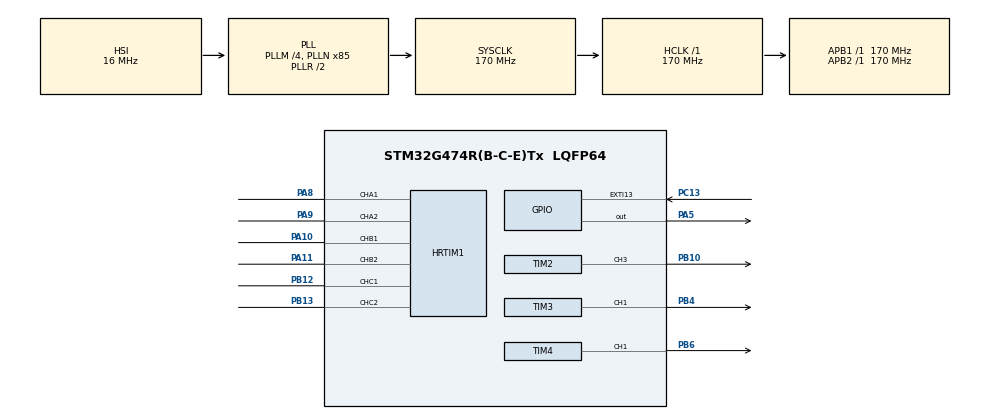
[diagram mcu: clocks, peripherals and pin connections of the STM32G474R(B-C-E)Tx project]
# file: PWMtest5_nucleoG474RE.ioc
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HRTIM1.CompareUnit1-Output_TA1TA2=HRTIM_COMPAREUNIT_1
HRTIM1.CompareUnit1-Output_TB1TB2=HRTIM_COMPAREUNIT_1
HRTIM1.CompareUnit1-Output_TC1TC2=HRTIM_COMPAREUNIT_1
HRTIM1.CompareValue1-Output_TA1TA2=17000
HRTIM1.CompareValue1-Output_TB1TB2=17000
HRTIM1.CompareValue1-Output_TC1TC2=17000
HRTIM1.DeadTimeInsertion-Output_TA1TA2=HRTIM_TIMDEADTIMEINSERTION_ENABLED
HRTIM1.DeadTimeInsertion-Output_TB1TB2=HRTIM_TIMDEADTIMEINSERTION_ENABLED
HRTIM1.DeadTimeInsertion-Output_TC1TC2=HRTIM_TIMDEADTIMEINSERTION_ENABLED
HRTIM1.Deadtimeconfig-Output_TA1TA2=HRTIM_TIMERINDEX_TIMER_A
HRTIM1.Deadtimeconfig-Output_TB1TB2=HRTIM_TIMERINDEX_TIMER_B
HRTIM1.Deadtimeconfig-Output_TC1TC2=HRTIM_TIMERINDEX_TIMER_C
HRTIM1.FallingValue-Output_TA1TA2=68
HRTIM1.FallingValue-Output_TB1TB2=68
HRTIM1.FallingValue-Output_TC1TC2=68
HRTIM1.InterruptRequests1-Output_TA1TA2=HRTIM_TIM_IT_REP
HRTIM1.ModeTimeBase-Output_TA1TA2=HRTIM_MODE_CONTINUOUS
HRTIM1.ModeTimeBase-Output_TB1TB2=HRTIM_MODE_CONTINUOUS
HRTIM1.NumberInterruptRequests-Output_TA1TA2=1
HRTIM1.NumberInterruptRequests-Output_TB1TB2=0
HRTIM1.NumberInterruptRequests-Output_TC1TC2=0
HRTIM1.NumberResetSource1-Output_TA1TA2=1
HRTIM1.NumberResetSource1-Output_TB1TB2=1
HRTIM1.NumberResetSource1-Output_TC1TC2=1
HRTIM1.NumberResetSource2_TA=0
HRTIM1.NumberSetSource1-Output_TA1TA2=1
HRTIM1.NumberSetSource1-Output_TB1TB2=1
HRTIM1.NumberSetSource1-Output_TC1TC2=1
HRTIM1.NumberSetSource2_TA=0
HRTIM1.Periode_TA=34000
HRTIM1.Periode_TB=34000
HRTIM1.Periode_TC=34000
HRTIM1.PreloadEnable-Output_TA1TA2=HRTIM_PRELOAD_ENABLED
HRTIM1.PreloadEnable-Output_TB1TB2=HRTIM_PRELOAD_ENABLED
HRTIM1.PreloadEnable-Output_TC1TC2=HRTIM_PRELOAD_ENABLED
HRTIM1.PrescalerRatio_TA=HRTIM_PRESCALERRATIO_MUL8
HRTIM1.PrescalerRatio_TB=HRTIM_PRESCALERRATIO_MUL8
HRTIM1.PrescalerRatio_TC=HRTIM_PRESCALERRATIO_MUL8
HRTIM1.RepetitionUpdate-Output_TA1TA2=HRTIM_UPDATEONREPETITION_ENABLED
HRTIM1.RepetitionUpdate-Output_TB1TB2=HRTIM_UPDATEONREPETITION_ENABLED
HRTIM1.RepetitionUpdate-Output_TC1TC2=HRTIM_UPDATEONREPETITION_ENABLED
HRTIM1.ResetOutput1_Source1-Output_TA1TA2=HRTIM_OUTPUTRESET_TIMCMP1
HRTIM1.ResetOutput1_Source1-Output_TB1TB2=HRTIM_OUTPUTRESET_TIMCMP1
HRTIM1.ResetOutput1_Source1-Output_TC1TC2=HRTIM_OUTPUTRESET_TIMCMP1
HRTIM1.RisingValue-Output_TA1TA2=68
HRTIM1.RisingValue-Output_TB1TB2=68
HRTIM1.RisingValue-Output_TC1TC2=68
HRTIM1.SetOutput1_Source1-Output_TA1TA2=HRTIM_OUTPUTSET_TIMCMP1
HRTIM1.SetOutput1_Source1-Output_TB1TB2=HRTIM_OUTPUTSET_TIMCMP1
HRTIM1.SetOutput1_Source1-Output_TC1TC2=HRTIM_OUTPUTSET_TIMCMP1
HRTIM1.UpDownMode-Output_TA1TA2=HRTIM_TIMERUPDOWNMODE_UPDOWN
HRTIM1.UpDownMode-Output_TB1TB2=HRTIM_TIMERUPDOWNMODE_UPDOWN
HRTIM1.UpDownMode-Output_TC1TC2=HRTIM_TIMERUPDOWNMODE_UPDOWN
Mcu.Family=STM32G4
Mcu.Name=STM32G474R(B-C-E)Tx
Mcu.Package=LQFP64
NUCLEO-G474RE.BUTTON=1
NUCLEO-G474RE.LD2=true
NUCLEO-G474RE.VCP=true
NVIC.EXTI15_10_IRQn=true\:0\:0\:false\:false\:true\:true\:true\:true
NVIC.HRTIM1_TIMA_IRQn=true\:0\:0\:false\:false\:true\:true\:true\:true
NVIC.PriorityGroup=NVIC_PRIORITYGROUP_4
PA10.Mode=Output_TB1TB2
PA10.Signal=HRTIM1_CHB1
PA11.Mode=Output_TB1TB2
PA11.Signal=HRTIM1_CHB2
PA13.GPIO_Label=T_SWDIO
PA13.Signal=SYS_JTMS-SWDIO
PA14.GPIO_Label=T_SWCLK
PA14.Signal=SYS_JTCK-SWCLK
PA2.Signal=LPUART1_TX
PA3.Signal=LPUART1_RX
PA5.Signal=GPIO_Output
PA8.Mode=Output_TA1TA2
PA8.Signal=HRTIM1_CHA1
PA9.Mode=Output_TA1TA2
PA9.Signal=HRTIM1_CHA2
PB10.Signal=S_TIM2_CH3
PB12.Mode=Output_TC1TC2
PB12.Signal=HRTIM1_CHC1
PB13.Mode=Output_TC1TC2
PB13.Signal=HRTIM1_CHC2
PB3.GPIO_Label=T_SWO
PB3.Signal=SYS_JTDO-SWO
PB4.Signal=S_TIM3_CH1
PB6.Signal=S_TIM4_CH1
PC13.Signal=GPXTI13
PC14-OSC32_IN.GPIO_Label=RCC_OSC32_IN
PC14-OSC32_IN.Signal=RCC_OSC32_IN
PC15-OSC32_OUT.GPIO_Label=RCC_OSC32_OUT
PC15-OSC32_OUT.Signal=RCC_OSC32_OUT
PF0-OSC_IN.GPIO_Label=RCC_OSC_IN
PF0-OSC_IN.Signal=RCC_OSC_IN
PF1-OSC_OUT.GPIO_Label=RCC_OSC_OUT
PF1-OSC_OUT.Signal=RCC_OSC_OUT
ProjectManager.HeapSize=0x200
ProjectManager.StackSize=0x400
ProjectManager.TargetToolchain=STM32CubeIDE
RCC.ADC12Freq_Value=170000000
RCC.ADC345Freq_Value=170000000
RCC.AHBFreq_Value=170000000
RCC.APB1Freq_Value=170000000
RCC.APB1TimFreq_Value=170000000
RCC.APB2Freq_Value=170000000
RCC.APB2TimFreq_Value=170000000
RCC.CortexFreq_Value=170000000
RCC.EXTERNAL_CLOCK_VALUE=12288000
RCC.HCLKFreq_Value=170000000
RCC.HSE_VALUE=24000000
RCC.HSI48_VALUE=48000000
RCC.HSI_VALUE=16000000
RCC.LSE_VALUE=32768
RCC.PLLM=RCC_PLLM_DIV4
RCC.PLLN=85
RCC.RTCClockSelection=RCC_RTCCLKSOURCE_LSE
RCC.SYSCLKFreq_VALUE=170000000
RCC.SYSCLKSource=RCC_SYSCLKSOURCE_PLLCLK
RCC.USBFreq_Value=170000000
RCC.VCOOutputFreq_Value=340000000
SH.S_TIM2_CH3.0=TIM2_CH3,PWM Generation3 CH3
SH.S_TIM3_CH1.0=TIM3_CH1,PWM Generation1 CH1
SH.S_TIM4_CH1.0=TIM4_CH1,PWM Generation1 CH1
TIM2.AutoReloadPreload=TIM_AUTORELOAD_PRELOAD_ENABLE
TIM2.Channel-PWM\ Generation3\ CH3=TIM_CHANNEL_3
TIM2.PeriodNoDither=1699
TIM2.TIM_MasterOutputTrigger=TIM_TRGO_ENABLE
TIM2.TIM_MasterSlaveMode=TIM_MASTERSLAVEMODE_ENABLE
TIM3.AutoReloadPreload=TIM_AUTORELOAD_PRELOAD_ENABLE
TIM3.Channel-PWM\ Generation1\ CH1=TIM_CHANNEL_1
TIM3.PeriodNoDither=1699
TIM4.AutoReloadPreload=TIM_AUTORELOAD_PRELOAD_ENABLE
TIM4.Channel-PWM\ Generation1\ CH1=TIM_CHANNEL_1
TIM4.PeriodNoDither=1699
VP_NUCLEO-G474RE_VS_BSP_COMMON.Mode=COMMON
VP_SYS_VS_DBSignals.Mode=DisableDeadBatterySignals
VP_TIM3_VS_ClockSourceITR.Mode=TriggerSource_ITR1
VP_TIM3_VS_ControllerModeTrigger.Mode=Trigger Mode
VP_TIM4_VS_ClockSourceITR.Mode=TriggerSource_ITR1
VP_TIM4_VS_ControllerModeTrigger.Mode=Trigger Mode
board=NUCLEO-G474RE

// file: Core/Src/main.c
/* USER CODE BEGIN Header */
/**
  ******************************************************************************
  * @file           : main.c
  * @brief          : Main program body
  ******************************************************************************
  * @attention
  *
  * Copyright (c) 2025 STMicroelectronics.
  * All rights reserved.
  *
  * This software is licensed under terms that can be found in the LICENSE file
  * in the root directory of this software component.
  * If no LICENSE file comes with this software, it is provided AS-IS.
  *
  ******************************************************************************
  */
/* USER CODE END Header */
#include "main.h"

/* USER CODE BEGIN Includes */
#include <math.h>
/* USER CODE END Includes */

/* USER CODE BEGIN PD */
#define F_SW 20000.0f//fsw:switching frequency
#define HRTIM_CLOCK (170000000.0f*8.0f)//HRTIMClock
#define LUT_SIZE 1024
#define PI 3.1415926535f
#define HRTIM_PERIOD_COUNTS  ((uint16_t)(HRTIM_CLOCK / (2.0f * F_SW)))//Attention!:Up-Dwonmode now
/* USER CODE END PD */

COM_InitTypeDef BspCOMInit;
HRTIM_HandleTypeDef hhrtim1;

TIM_HandleTypeDef htim2;
TIM_HandleTypeDef htim3;
TIM_HandleTypeDef htim4;

/* USER CODE BEGIN PV */
//circuit parameters
float sin_lut[LUT_SIZE];
float fm = 50.0f;       //Main Frequency
float mod_index = 0.85f; //Modulation

//phase calculate
float phase_acc = 0.0f; // 現在の位相アキュムレータ
float phase_step = 0.0f; // 1割り込みごとの位相進み量

/* USER CODE END PV */

void SystemClock_Config(void);
static void MX_GPIO_Init(void);
static void MX_TIM2_Init(void);
static void MX_TIM3_Init(void);
static void MX_TIM4_Init(void);
static void MX_HRTIM1_Init(void);

/* USER CODE BEGIN 0 */
/***
 * @brief Initialize LUT
 */
void Init_Sine_LUT(void)
{
	//generate LUT
    for (int i = 0; i < LUT_SIZE; i++)
    {
        float theta = (2.0f * PI * (float)i) / (float)LUT_SIZE;
        sin_lut[i] = sinf(theta);
    }
}

/***
 * @brief Calculate Phase
 */
void Update_Phase_Step(void){
	phase_step=(fm/F_SW)*(float)LUT_SIZE;
}
/* USER CODE END 0 */

int main(void)
{

  /* MCU Configuration--------------------------------------------------------*/

  /* Reset of all peripherals, Initializes the Flash interface and the Systick. */
  HAL_Init();

  /* Configure the system clock */
  SystemClock_Config();

  /* Initialize all configured peripherals */
  MX_GPIO_Init();
  MX_TIM2_Init();
  MX_TIM3_Init();
  MX_TIM4_Init();
  MX_HRTIM1_Init();
  /* USER CODE BEGIN 2 */
  Init_Sine_LUT();
  Update_Phase_Step();

  __HAL_HRTIM_SETPERIOD(&hhrtim1, HRTIM_TIMERINDEX_TIMER_A, HRTIM_PERIOD_COUNTS);
  __HAL_HRTIM_SETPERIOD(&hhrtim1, HRTIM_TIMERINDEX_TIMER_B, HRTIM_PERIOD_COUNTS);
  __HAL_HRTIM_SETPERIOD(&hhrtim1, HRTIM_TIMERINDEX_TIMER_C, HRTIM_PERIOD_COUNTS);

  HAL_HRTIM_WaveformOutputStart(&hhrtim1, HRTIM_OUTPUT_TA1 | HRTIM_OUTPUT_TA2 |
                                            HRTIM_OUTPUT_TB1 | HRTIM_OUTPUT_TB2 |
                                            HRTIM_OUTPUT_TC1 | HRTIM_OUTPUT_TC2);
  hhrtim1.Instance->sTimerxRegs[HRTIM_TIMERINDEX_TIMER_A].TIMxDIER |= HRTIM_TIM_IT_REP;//TimerAの割り込みを強制的に許可させる(iocでなぜ設定されないか不明)
  HAL_HRTIM_WaveformCountStart(&hhrtim1, HRTIM_TIMERID_TIMER_A | HRTIM_TIMERID_TIMER_B | HRTIM_TIMERID_TIMER_C);
  /* USER CODE END 2 */

  /* Initialize led */
  BSP_LED_Init(LED_GREEN);

  /* Initialize USER push-button, will be used to trigger an interrupt each time it's pressed.*/
  BSP_PB_Init(BUTTON_USER, BUTTON_MODE_EXTI);

  /* Initialize COM1 port (115200, 8 bits (7-bit data + 1 stop bit), no parity */
  BspCOMInit.BaudRate   = 115200;
  BspCOMInit.WordLength = COM_WORDLENGTH_8B;
  BspCOMInit.StopBits   = COM_STOPBITS_1;
  BspCOMInit.Parity     = COM_PARITY_NONE;
  BspCOMInit.HwFlowCtl  = COM_HWCONTROL_NONE;
  if (BSP_COM_Init(COM1, &BspCOMInit) != BSP_ERROR_NONE)
  {
    Error_Handler();
  }

  /* Infinite loop */
  while (1)
  {

  }
}

void SystemClock_Config(void)
{
  RCC_OscInitTypeDef RCC_OscInitStruct = {0};
  RCC_ClkInitTypeDef RCC_ClkInitStruct = {0};

  /** Configure the main internal regulator output voltage
  */
  HAL_PWREx_ControlVoltageScaling(PWR_REGULATOR_VOLTAGE_SCALE1_BOOST);

  /** Initializes the RCC Oscillators according to the specified parameters
  * in the RCC_OscInitTypeDef structure.
  */
  RCC_OscInitStruct.OscillatorType = RCC_OSCILLATORTYPE_HSI;
  RCC_OscInitStruct.HSIState = RCC_HSI_ON;
  RCC_OscInitStruct.HSICalibrationValue = RCC_HSICALIBRATION_DEFAULT;
  RCC_OscInitStruct.PLL.PLLState = RCC_PLL_ON;
  RCC_OscInitStruct.PLL.PLLSource = RCC_PLLSOURCE_HSI;
  RCC_OscInitStruct.PLL.PLLM = RCC_PLLM_DIV4;
  RCC_OscInitStruct.PLL.PLLN = 85;
  RCC_OscInitStruct.PLL.PLLP = RCC_PLLP_DIV2;
  RCC_OscInitStruct.PLL.PLLQ = RCC_PLLQ_DIV2;
  RCC_OscInitStruct.PLL.PLLR = RCC_PLLR_DIV2;
  if (HAL_RCC_OscConfig(&RCC_OscInitStruct) != HAL_OK)
  {
    Error_Handler();
  }

  /** Initializes the CPU, AHB and APB buses clocks
  */
  RCC_ClkInitStruct.ClockType = RCC_CLOCKTYPE_HCLK|RCC_CLOCKTYPE_SYSCLK
                              |RCC_CLOCKTYPE_PCLK1|RCC_CLOCKTYPE_PCLK2;
  RCC_ClkInitStruct.SYSCLKSource = RCC_SYSCLKSOURCE_PLLCLK;
  RCC_ClkInitStruct.AHBCLKDivider = RCC_SYSCLK_DIV1;
  RCC_ClkInitStruct.APB1CLKDivider = RCC_HCLK_DIV1;
  RCC_ClkInitStruct.APB2CLKDivider = RCC_HCLK_DIV1;

  if (HAL_RCC_ClockConfig(&RCC_ClkInitStruct, FLASH_LATENCY_4) != HAL_OK)
  {
    Error_Handler();
  }
}

static void MX_HRTIM1_Init(void)
{

  HRTIM_TimeBaseCfgTypeDef pTimeBaseCfg = {0};
  HRTIM_TimerCtlTypeDef pTimerCtl = {0};
  HRTIM_TimerCfgTypeDef pTimerCfg = {0};
  HRTIM_CompareCfgTypeDef pCompareCfg = {0};
  HRTIM_DeadTimeCfgTypeDef pDeadTimeCfg = {0};
  HRTIM_OutputCfgTypeDef pOutputCfg = {0};

  hhrtim1.Instance = HRTIM1;
  hhrtim1.Init.HRTIMInterruptResquests = HRTIM_IT_NONE;
  hhrtim1.Init.SyncOptions = HRTIM_SYNCOPTION_NONE;
  if (HAL_HRTIM_Init(&hhrtim1) != HAL_OK)
  {
    Error_Handler();
  }
  if (HAL_HRTIM_DLLCalibrationStart(&hhrtim1, HRTIM_CALIBRATIONRATE_3) != HAL_OK)
  {
    Error_Handler();
  }
  if (HAL_HRTIM_PollForDLLCalibration(&hhrtim1, 10) != HAL_OK)
  {
    Error_Handler();
  }
  pTimeBaseCfg.Period = 34000;
  pTimeBaseCfg.RepetitionCounter = 0x00;
  pTimeBaseCfg.PrescalerRatio = HRTIM_PRESCALERRATIO_MUL8;
  pTimeBaseCfg.Mode = HRTIM_MODE_CONTINUOUS;
  if (HAL_HRTIM_TimeBaseConfig(&hhrtim1, HRTIM_TIMERINDEX_TIMER_A, &pTimeBaseCfg) != HAL_OK)
  {
    Error_Handler();
  }
  pTimerCtl.UpDownMode = HRTIM_TIMERUPDOWNMODE_UPDOWN;
  pTimerCtl.GreaterCMP1 = HRTIM_TIMERGTCMP1_EQUAL;
  pTimerCtl.DualChannelDacEnable = HRTIM_TIMER_DCDE_DISABLED;
  if (HAL_HRTIM_WaveformTimerControl(&hhrtim1, HRTIM_TIMERINDEX_TIMER_A, &pTimerCtl) != HAL_OK)
  {
    Error_Handler();
  }
  if (HAL_HRTIM_RollOverModeConfig(&hhrtim1, HRTIM_TIMERINDEX_TIMER_A, HRTIM_TIM_FEROM_BOTH|HRTIM_TIM_BMROM_BOTH
                              |HRTIM_TIM_ADROM_BOTH|HRTIM_TIM_OUTROM_BOTH
                              |HRTIM_TIM_ROM_BOTH) != HAL_OK)
  {
    Error_Handler();
  }
  pTimerCfg.InterruptRequests = HRTIM_TIM_IT_REP;
  pTimerCfg.DMARequests = HRTIM_TIM_DMA_NONE;
  pTimerCfg.DMASrcAddress = 0x0000;
  pTimerCfg.DMADstAddress = 0x0000;
  pTimerCfg.DMASize = 0x1;
  pTimerCfg.HalfModeEnable = HRTIM_HALFMODE_DISABLED;
  pTimerCfg.InterleavedMode = HRTIM_INTERLEAVED_MODE_DISABLED;
  pTimerCfg.StartOnSync = HRTIM_SYNCSTART_DISABLED;
  pTimerCfg.ResetOnSync = HRTIM_SYNCRESET_DISABLED;
  pTimerCfg.DACSynchro = HRTIM_DACSYNC_NONE;
  pTimerCfg.PreloadEnable = HRTIM_PRELOAD_ENABLED;
  pTimerCfg.UpdateGating = HRTIM_UPDATEGATING_INDEPENDENT;
  pTimerCfg.BurstMode = HRTIM_TIMERBURSTMODE_MAINTAINCLOCK;
  pTimerCfg.RepetitionUpdate = HRTIM_UPDATEONREPETITION_ENABLED;
  pTimerCfg.PushPull = HRTIM_TIMPUSHPULLMODE_DISABLED;
  pTimerCfg.FaultEnable = HRTIM_TIMFAULTENABLE_NONE;
  pTimerCfg.FaultLock = HRTIM_TIMFAULTLOCK_READWRITE;
  pTimerCfg.DeadTimeInsertion = HRTIM_TIMDEADTIMEINSERTION_ENABLED;
  pTimerCfg.DelayedProtectionMode = HRTIM_TIMER_A_B_C_DELAYEDPROTECTION_DISABLED;
  pTimerCfg.UpdateTrigger = HRTIM_TIMUPDATETRIGGER_NONE;
  pTimerCfg.ResetTrigger = HRTIM_TIMRESETTRIGGER_NONE;
  pTimerCfg.ResetUpdate = HRTIM_TIMUPDATEONRESET_DISABLED;
  pTimerCfg.ReSyncUpdate = HRTIM_TIMERESYNC_UPDATE_UNCONDITIONAL;
  if (HAL_HRTIM_WaveformTimerConfig(&hhrtim1, HRTIM_TIMERINDEX_TIMER_A, &pTimerCfg) != HAL_OK)
  {
    Error_Handler();
  }
  pTimerCfg.InterruptRequests = HRTIM_TIM_IT_NONE;
  if (HAL_HRTIM_WaveformTimerConfig(&hhrtim1, HRTIM_TIMERINDEX_TIMER_B, &pTimerCfg) != HAL_OK)
  {
    Error_Handler();
  }
  if (HAL_HRTIM_WaveformTimerConfig(&hhrtim1, HRTIM_TIMERINDEX_TIMER_C, &pTimerCfg) != HAL_OK)
  {
    Error_Handler();
  }
  pCompareCfg.CompareValue = 17000;
  if (HAL_HRTIM_WaveformCompareConfig(&hhrtim1, HRTIM_TIMERINDEX_TIMER_A, HRTIM_COMPAREUNIT_1, &pCompareCfg) != HAL_OK)
  {
    Error_Handler();
  }
  pDeadTimeCfg.Prescaler = HRTIM_TIMDEADTIME_PRESCALERRATIO_MUL8;
  pDeadTimeCfg.RisingValue = 68;
  pDeadTimeCfg.RisingSign = HRTIM_TIMDEADTIME_RISINGSIGN_POSITIVE;
  pDeadTimeCfg.RisingLock = HRTIM_TIMDEADTIME_RISINGLOCK_WRITE;
  pDeadTimeCfg.RisingSignLock = HRTIM_TIMDEADTIME_RISINGSIGNLOCK_WRITE;
  pDeadTimeCfg.FallingValue = 68;
  pDeadTimeCfg.FallingSign = HRTIM_TIMDEADTIME_FALLINGSIGN_POSITIVE;
  pDeadTimeCfg.FallingLock = HRTIM_TIMDEADTIME_FALLINGLOCK_WRITE;
  pDeadTimeCfg.FallingSignLock = HRTIM_TIMDEADTIME_FALLINGSIGNLOCK_WRITE;
  if (HAL_HRTIM_DeadTimeConfig(&hhrtim1, HRTIM_TIMERINDEX_TIMER_A, &pDeadTimeCfg) != HAL_OK)
  {
    Error_Handler();
  }
  if (HAL_HRTIM_DeadTimeConfig(&hhrtim1, HRTIM_TIMERINDEX_TIMER_B, &pDeadTimeCfg) != HAL_OK)
  {
    Error_Handler();
  }
  if (HAL_HRTIM_DeadTimeConfig(&hhrtim1, HRTIM_TIMERINDEX_TIMER_C, &pDeadTimeCfg) != HAL_OK)
  {
    Error_Handler();
  }
  pOutputCfg.Polarity = HRTIM_OUTPUTPOLARITY_HIGH;
  pOutputCfg.SetSource = HRTIM_OUTPUTSET_TIMCMP1;
  pOutputCfg.ResetSource = HRTIM_OUTPUTRESET_TIMCMP1;
  pOutputCfg.IdleMode = HRTIM_OUTPUTIDLEMODE_NONE;
  pOutputCfg.IdleLevel = HRTIM_OUTPUTIDLELEVEL_INACTIVE;
  pOutputCfg.FaultLevel = HRTIM_OUTPUTFAULTLEVEL_NONE;
  pOutputCfg.ChopperModeEnable = HRTIM_OUTPUTCHOPPERMODE_DISABLED;
  pOutputCfg.BurstModeEntryDelayed = HRTIM_OUTPUTBURSTMODEENTRY_REGULAR;
  if (HAL_HRTIM_WaveformOutputConfig(&hhrtim1, HRTIM_TIMERINDEX_TIMER_A, HRTIM_OUTPUT_TA1, &pOutputCfg) != HAL_OK)
  {
    Error_Handler();
  }
  if (HAL_HRTIM_WaveformOutputConfig(&hhrtim1, HRTIM_TIMERINDEX_TIMER_B, HRTIM_OUTPUT_TB1, &pOutputCfg) != HAL_OK)
  {
    Error_Handler();
  }
  if (HAL_HRTIM_WaveformOutputConfig(&hhrtim1, HRTIM_TIMERINDEX_TIMER_C, HRTIM_OUTPUT_TC1, &pOutputCfg) != HAL_OK)
  {
    Error_Handler();
  }
  pOutputCfg.SetSource = HRTIM_OUTPUTSET_NONE;
  pOutputCfg.ResetSource = HRTIM_OUTPUTRESET_NONE;
  if (HAL_HRTIM_WaveformOutputConfig(&hhrtim1, HRTIM_TIMERINDEX_TIMER_A, HRTIM_OUTPUT_TA2, &pOutputCfg) != HAL_OK)
  {
    Error_Handler();
  }
  if (HAL_HRTIM_WaveformOutputConfig(&hhrtim1, HRTIM_TIMERINDEX_TIMER_B, HRTIM_OUTPUT_TB2, &pOutputCfg) != HAL_OK)
  {
    Error_Handler();
  }
  if (HAL_HRTIM_WaveformOutputConfig(&hhrtim1, HRTIM_TIMERINDEX_TIMER_C, HRTIM_OUTPUT_TC2, &pOutputCfg) != HAL_OK)
  {
    Error_Handler();
  }
  if (HAL_HRTIM_TimeBaseConfig(&hhrtim1, HRTIM_TIMERINDEX_TIMER_B, &pTimeBaseCfg) != HAL_OK)
  {
    Error_Handler();
  }
  if (HAL_HRTIM_WaveformTimerControl(&hhrtim1, HRTIM_TIMERINDEX_TIMER_B, &pTimerCtl) != HAL_OK)
  {
    Error_Handler();
  }
  if (HAL_HRTIM_RollOverModeConfig(&hhrtim1, HRTIM_TIMERINDEX_TIMER_B, HRTIM_TIM_FEROM_BOTH|HRTIM_TIM_BMROM_BOTH
                              |HRTIM_TIM_ADROM_BOTH|HRTIM_TIM_OUTROM_BOTH
                              |HRTIM_TIM_ROM_BOTH) != HAL_OK)
  {
    Error_Handler();
  }
  if (HAL_HRTIM_WaveformCompareConfig(&hhrtim1, HRTIM_TIMERINDEX_TIMER_B, HRTIM_COMPAREUNIT_1, &pCompareCfg) != HAL_OK)
  {
    Error_Handler();
  }
  if (HAL_HRTIM_TimeBaseConfig(&hhrtim1, HRTIM_TIMERINDEX_TIMER_C, &pTimeBaseCfg) != HAL_OK)
  {
    Error_Handler();
  }
  if (HAL_HRTIM_WaveformTimerControl(&hhrtim1, HRTIM_TIMERINDEX_TIMER_C, &pTimerCtl) != HAL_OK)
  {
    Error_Handler();
  }
  if (HAL_HRTIM_RollOverModeConfig(&hhrtim1, HRTIM_TIMERINDEX_TIMER_C, HRTIM_TIM_FEROM_BOTH|HRTIM_TIM_BMROM_BOTH
                              |HRTIM_TIM_ADROM_BOTH|HRTIM_TIM_OUTROM_BOTH
                              |HRTIM_TIM_ROM_BOTH) != HAL_OK)
  {
    Error_Handler();
  }
  if (HAL_HRTIM_WaveformCompareConfig(&hhrtim1, HRTIM_TIMERINDEX_TIMER_C, HRTIM_COMPAREUNIT_1, &pCompareCfg) != HAL_OK)
  {
    Error_Handler();
  }
  HAL_HRTIM_MspPostInit(&hhrtim1);

}

static void MX_TIM2_Init(void)
{

  TIM_MasterConfigTypeDef sMasterConfig = {0};
  TIM_OC_InitTypeDef sConfigOC = {0};

  htim2.Instance = TIM2;
  htim2.Init.Prescaler = 0;
  htim2.Init.CounterMode = TIM_COUNTERMODE_UP;
  htim2.Init.Period = 1699;
  htim2.Init.ClockDivision = TIM_CLOCKDIVISION_DIV1;
  htim2.Init.AutoReloadPreload = TIM_AUTORELOAD_PRELOAD_ENABLE;
  if (HAL_TIM_PWM_Init(&htim2) != HAL_OK)
  {
    Error_Handler();
  }
  sMasterConfig.MasterOutputTrigger = TIM_TRGO_ENABLE;
  sMasterConfig.MasterSlaveMode = TIM_MASTERSLAVEMODE_ENABLE;
  if (HAL_TIMEx_MasterConfigSynchronization(&htim2, &sMasterConfig) != HAL_OK)
  {
    Error_Handler();
  }
  sConfigOC.OCMode = TIM_OCMODE_PWM1;
  sConfigOC.Pulse = 0;
  sConfigOC.OCPolarity = TIM_OCPOLARITY_HIGH;
  sConfigOC.OCFastMode = TIM_OCFAST_DISABLE;
  if (HAL_TIM_PWM_ConfigChannel(&htim2, &sConfigOC, TIM_CHANNEL_3) != HAL_OK)
  {
    Error_Handler();
  }
  HAL_TIM_MspPostInit(&htim2);

}

static void MX_TIM3_Init(void)
{

  TIM_SlaveConfigTypeDef sSlaveConfig = {0};
  TIM_MasterConfigTypeDef sMasterConfig = {0};
  TIM_OC_InitTypeDef sConfigOC = {0};

  htim3.Instance = TIM3;
  htim3.Init.Prescaler = 0;
  htim3.Init.CounterMode = TIM_COUNTERMODE_UP;
  htim3.Init.Period = 1699;
  htim3.Init.ClockDivision = TIM_CLOCKDIVISION_DIV1;
  htim3.Init.AutoReloadPreload = TIM_AUTORELOAD_PRELOAD_ENABLE;
  if (HAL_TIM_Base_Init(&htim3) != HAL_OK)
  {
    Error_Handler();
  }
  if (HAL_TIM_PWM_Init(&htim3) != HAL_OK)
  {
    Error_Handler();
  }
  sSlaveConfig.SlaveMode = TIM_SLAVEMODE_TRIGGER;
  sSlaveConfig.InputTrigger = TIM_TS_ITR1;
  if (HAL_TIM_SlaveConfigSynchro(&htim3, &sSlaveConfig) != HAL_OK)
  {
    Error_Handler();
  }
  sMasterConfig.MasterOutputTrigger = TIM_TRGO_RESET;
  sMasterConfig.MasterSlaveMode = TIM_MASTERSLAVEMODE_DISABLE;
  if (HAL_TIMEx_MasterConfigSynchronization(&htim3, &sMasterConfig) != HAL_OK)
  {
    Error_Handler();
  }
  sConfigOC.OCMode = TIM_OCMODE_PWM1;
  sConfigOC.Pulse = 0;
  sConfigOC.OCPolarity = TIM_OCPOLARITY_HIGH;
  sConfigOC.OCFastMode = TIM_OCFAST_DISABLE;
  if (HAL_TIM_PWM_ConfigChannel(&htim3, &sConfigOC, TIM_CHANNEL_1) != HAL_OK)
  {
    Error_Handler();
  }
  HAL_TIM_MspPostInit(&htim3);

}

static void MX_TIM4_Init(void)
{

  TIM_SlaveConfigTypeDef sSlaveConfig = {0};
  TIM_MasterConfigTypeDef sMasterConfig = {0};
  TIM_OC_InitTypeDef sConfigOC = {0};

  htim4.Instance = TIM4;
  htim4.Init.Prescaler = 0;
  htim4.Init.CounterMode = TIM_COUNTERMODE_UP;
  htim4.Init.Period = 1699;
  htim4.Init.ClockDivision = TIM_CLOCKDIVISION_DIV1;
  htim4.Init.AutoReloadPreload = TIM_AUTORELOAD_PRELOAD_ENABLE;
  if (HAL_TIM_Base_Init(&htim4) != HAL_OK)
  {
    Error_Handler();
  }
  if (HAL_TIM_PWM_Init(&htim4) != HAL_OK)
  {
    Error_Handler();
  }
  sSlaveConfig.SlaveMode = TIM_SLAVEMODE_TRIGGER;
  sSlaveConfig.InputTrigger = TIM_TS_ITR1;
  if (HAL_TIM_SlaveConfigSynchro(&htim4, &sSlaveConfig) != HAL_OK)
  {
    Error_Handler();
  }
  sMasterConfig.MasterOutputTrigger = TIM_TRGO_RESET;
  sMasterConfig.MasterSlaveMode = TIM_MASTERSLAVEMODE_DISABLE;
  if (HAL_TIMEx_MasterConfigSynchronization(&htim4, &sMasterConfig) != HAL_OK)
  {
    Error_Handler();
  }
  sConfigOC.OCMode = TIM_OCMODE_PWM1;
  sConfigOC.Pulse = 0;
  sConfigOC.OCPolarity = TIM_OCPOLARITY_HIGH;
  sConfigOC.OCFastMode = TIM_OCFAST_DISABLE;
  if (HAL_TIM_PWM_ConfigChannel(&htim4, &sConfigOC, TIM_CHANNEL_1) != HAL_OK)
  {
    Error_Handler();
  }
  HAL_TIM_MspPostInit(&htim4);

}

static void MX_GPIO_Init(void)
{

  /* GPIO Ports Clock Enable */
  __HAL_RCC_GPIOC_CLK_ENABLE();
  __HAL_RCC_GPIOF_CLK_ENABLE();
  __HAL_RCC_GPIOB_CLK_ENABLE();
  __HAL_RCC_GPIOA_CLK_ENABLE();

}

/* USER CODE BEGIN 4 */
void HAL_HRTIM_RepetitionEventCallback(HRTIM_HandleTypeDef * hhrtim, uint32_t TimerIdx){
	if (TimerIdx == HRTIM_TIMERINDEX_TIMER_A)
	    {
		// ▼▼▼ 目視確認用：20,000回に1回だけLEDを反転させる ▼▼▼
		        static uint16_t led_counter = 0; // staticをつけて値を保持する

		        led_counter++;
		        if (led_counter >= 20000) // 20kHz ÷ 20000 = 1Hz (1秒に1回)
		        {
		            BSP_LED_Toggle(LED_GREEN);
		            led_counter = 0;
		        }
	        // 1. 位相を進める
	        phase_acc += phase_step;
	        if (phase_acc >= (float)LUT_SIZE)
	        {
	            phase_acc -= (float)LUT_SIZE;
	        }

	        // 2. 各相のインデックス計算 (120度 = LUT_SIZE / 3)
	        // インデックスは整数である必要がある
	        int idx_a = (int)phase_acc;
	        int idx_b = idx_a + (LUT_SIZE / 3);
	        int idx_c = idx_a + (2 * LUT_SIZE / 3);

	        // テーブル範囲内に丸める
	        if (idx_b >= LUT_SIZE) idx_b -= LUT_SIZE;
	        if (idx_c >= LUT_SIZE) idx_c -= LUT_SIZE;

	        // 3. デューティ比の計算 (Compare値)
	        // Up-Downモードの場合:
	        // Duty 50% = Period / 2
	        // Compare値 = Period * (1 + M * sin) / 2  ... (0中心の正弦波を 0~Periodにオフセット)

	        float center = (float)HRTIM_PERIOD_COUNTS / 2.0f;

	        // 相ごとのCompare値計算
	        uint16_t cmp_a = (uint16_t)(center * (1.0f + mod_index * sin_lut[idx_a]));
	        uint16_t cmp_b = (uint16_t)(center * (1.0f + mod_index * sin_lut[idx_b]));
	        uint16_t cmp_c = (uint16_t)(center * (1.0f + mod_index * sin_lut[idx_c]));

	        // 4. レジスタへ書き込み (次の周期で反映される)
	        __HAL_HRTIM_SETCOMPARE(hhrtim, HRTIM_TIMERINDEX_TIMER_A, HRTIM_COMPAREUNIT_1, cmp_a);
	        __HAL_HRTIM_SETCOMPARE(hhrtim, HRTIM_TIMERINDEX_TIMER_B, HRTIM_COMPAREUNIT_1, cmp_b);
	        __HAL_HRTIM_SETCOMPARE(hhrtim, HRTIM_TIMERINDEX_TIMER_C, HRTIM_COMPAREUNIT_1, cmp_c);

	        // もしfmを変えたらstepも更新する処理をここに入れるか，mainループで計算しておく
	        // (ここでは省略)
	    }
}
/* USER CODE END 4 */

void Error_Handler(void)
{
  __disable_irq();
  while (1)
  {
  }
}
